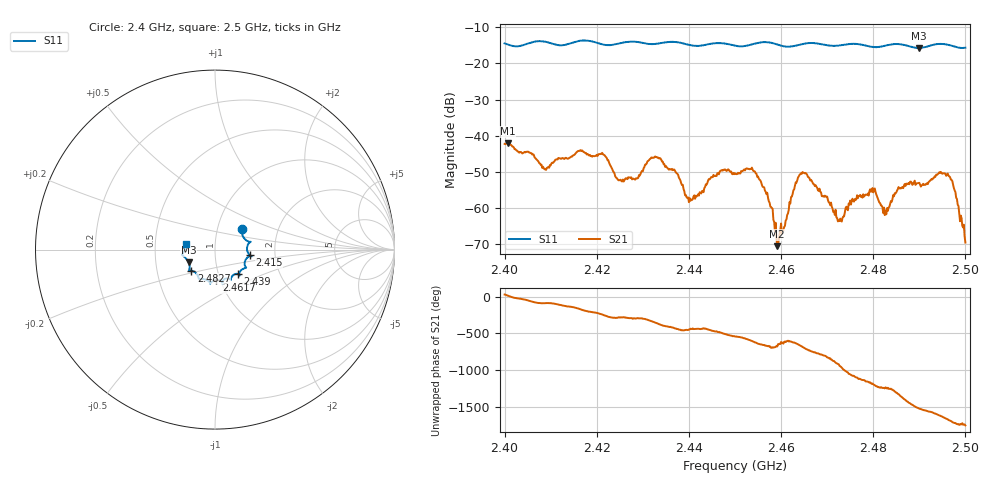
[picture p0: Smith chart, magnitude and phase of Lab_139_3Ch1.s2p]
# Hz S RI R 50
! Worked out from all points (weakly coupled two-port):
!   601 points, 2.4 GHz to 2.5 GHz, reference 50 ohm
!   highest |S21| = -42.06 dB at 2.4007 GHz (marker M1); lowest = -70.5 dB at 2.4592 GHz (marker M2)
!   lowest |S11| = -15.7 dB at 2.4898 GHz (marker M3), VSWR 1.39, Z = 36.8 - j5.42 ohm
!   |S11| at or under -10 dB: start of sweep to end of sweep
!   S12 and S22 are empty: the file has one direction only
!   S11 on the Smith chart (normalised r, x): 2.4 GHz: 1.31, +0.31; 2.415 GHz: 1.48, -0.10; 2.439 GHz: 1.24, -0.35; 2.4617 GHz: 0.96, -0.34; 2.4827 GHz: 0.75, -0.18; 2.5 GHz: 0.72, +0.05
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2.4e9  0.1507 0.1146  0.00677 0.00373  0 0  0 0
2.400667e9  0.1499 0.1053  0.00765 0.00192  0 0  0 0
2.408667e9  0.1962 0.0424  0.00014 -0.00343  0 0  0 0
2.415e9  0.1934 -0.0313  -0.00436 -0.00319  0 0  0 0
2.416667e9  0.2037 -0.038  -0.00617 -0.000307  0 0  0 0
2.4215e9  0.1747 -0.0506  -0.00171 0.00519  0 0  0 0
2.425333e9  0.1682 -0.0932  0.000525 0.00231  0 0  0 0
2.433333e9  0.136 -0.1309  0.00493 -0.000821  0 0  0 0
2.439e9  0.1288 -0.1363  -0.000233 -0.0017  0 0  0 0
2.45e9  0.0716 -0.1611  -0.00304 5.83e-05  0 0  0 0
2.454667e9  0.0399 -0.1863  -3.96e-05 0.00298  0 0  0 0
2.459167e9  0.0376 -0.1791  0.000221 0.000199  0 0  0 0
2.461667e9  0.00833 -0.1701  -0.000331 0.000891  0 0  0 0
2.464167e9  -0.0211 -0.1816  0.0017 0.00241  0 0  0 0
2.466667e9  -0.027 -0.19  0.00215 -0.001  0 0  0 0
2.472667e9  -0.0677 -0.164  -0.000514 0.000417  0 0  0 0
2.479833e9  -0.1033 -0.1339  -0.000408 -0.00185  0 0  0 0
2.482667e9  -0.1317 -0.1175  -0.000834 -0.000408  0 0  0 0
2.483333e9  -0.1374 -0.1168  -0.00101 -0.000105  0 0  0 0
2.489833e9  -0.147 -0.0716  0.000481 -0.00217  0 0  0 0
2.4965e9  -0.1784 -0.0203  -0.0013 0.00241  0 0  0 0
2.5e9  -0.1621 0.0313  0.000224 0.000247  0 0  0 0
